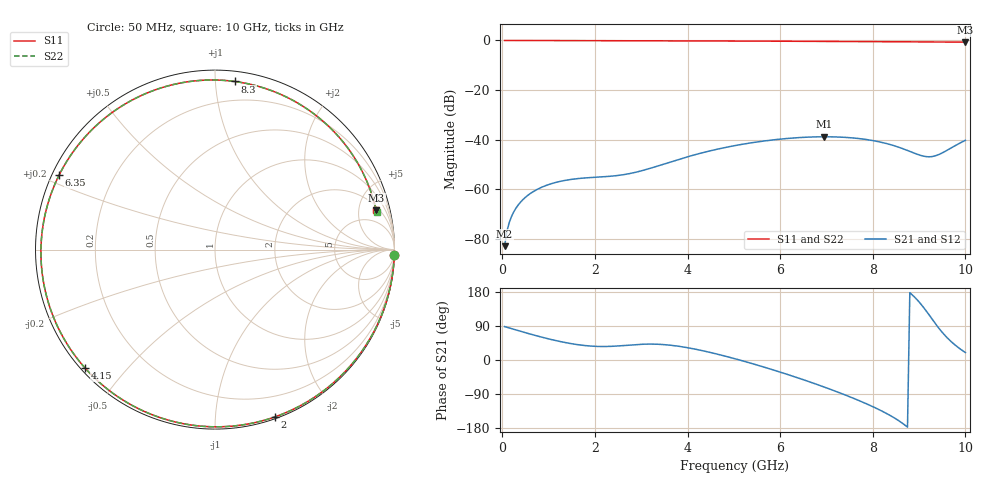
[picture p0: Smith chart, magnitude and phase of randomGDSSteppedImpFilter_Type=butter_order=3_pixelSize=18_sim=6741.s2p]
! freq	dB(S11)	phase(S11)	dB(S12)	phase(S12)
!  dB(S21)	phase(S21)	dB(S22)	phase(S22)
!S-par simulation data
#  GHz  S  DB  R 50
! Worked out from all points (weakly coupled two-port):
!   200 points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, 50 MHz to 10 GHz, reference 50 ohm
!   highest |S21| = -38.80 dB at 6.95 GHz (marker M1); lowest = -82.9 dB at 50 MHz (marker M2)
!   lowest |S11| = -0.7 dB at 10 GHz (marker M3), VSWR 25.38, Z = 126 + j376 ohm
!   |S11| at or under -10 dB: nowhere
!   |S22| runs from -0.7 to 0.0 dB; largest |S21 - S12| = 0
!   S11 on the Smith chart (normalised r, x): 50 MHz: 1, -62; 2 GHz: 0.02, -1.42; 4.15 GHz: 0.01, -0.39; 6.35 GHz: 0.02, +0.23; 8.3 GHz: 0.07, +1.12; 10 GHz: 2.52, +7.53
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0.05  -0.00 -1.8  -82.88 88.2  -82.88 88.2  -0.00 -1.8
0.15  -0.01 -5.5  -73.36 84.5  -73.36 84.5  -0.01 -5.5
0.25  -0.01 -9.1  -68.97 80.9  -68.97 80.9  -0.01 -9.1
0.55  -0.02 -19.9  -62.42 70.3  -62.42 70.3  -0.02 -19.9
1.05  -0.05 -37.7  -57.75 54.2  -57.75 54.2  -0.05 -37.7
1.75  -0.08 -61.9  -55.44 38.6  -55.44 38.6  -0.08 -61.9
2  -0.09 -70.3  -55.12 36.1  -55.12 36.1  -0.09 -70.3
2.7  -0.11 -93.0  -53.81 39.0  -53.81 39.0  -0.11 -93.0
3.4  -0.14 -114.8  -50.32 41.3  -50.32 41.3  -0.14 -114.9
4.15  -0.18 -137.6  -46.09 29.0  -46.09 29.0  -0.18 -137.6
5.05  -0.23 -164.6  -42.26 2.5  -42.26 2.5  -0.23 -164.7
5.7  -0.28 175.3  -40.39 -20.5  -40.39 -20.5  -0.28 175.2
6.35  -0.33 154.4  -39.21 -45.8  -39.21 -45.8  -0.33 154.3
6.7  -0.36 142.7  -38.88 -60.4  -38.88 -60.4  -0.36 142.5
6.95  -0.38 134.0  -38.80 -71.3  -38.80 -71.3  -0.38 133.8
7.65  -0.45 108.5  -39.42 -104.4  -39.42 -104.4  -0.45 108.2
8.3  -0.51 83.2  -41.55 -141.3  -41.55 -141.3  -0.51 82.8
8.35  -0.51 81.2  -41.80 -144.6  -41.80 -144.6  -0.51 80.8
8.8  -0.56 62.9  -44.69 177.7  -44.69 177.7  -0.56 62.5
9.25  -0.60 44.3  -46.84 113.3  -46.84 113.3  -0.60 43.8
9.45  -0.62 36.1  -45.77 80.3  -45.77 80.3  -0.62 35.5
10  -0.68 13.6  -40.22 19.6  -40.22 19.6  -0.69 13.1
